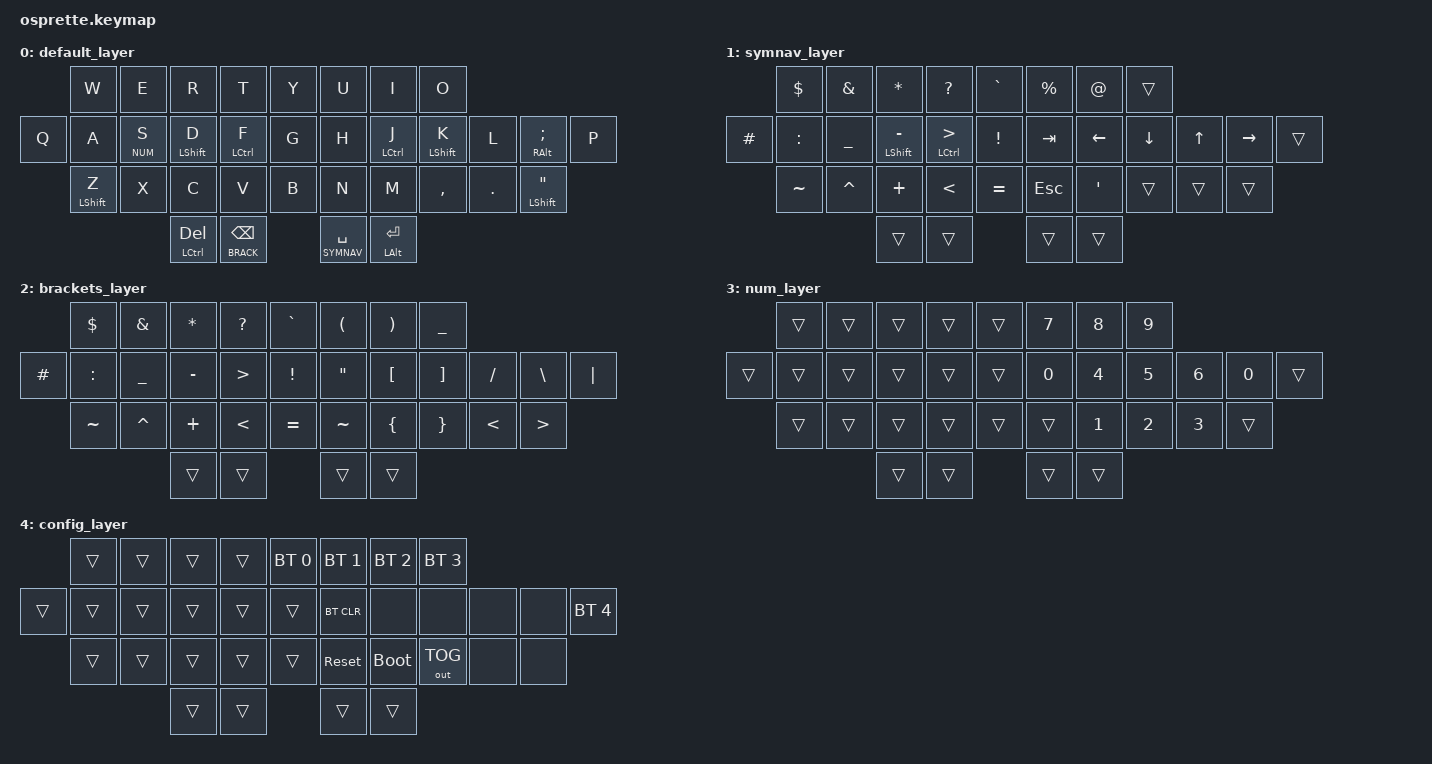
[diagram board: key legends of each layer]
/*
* Copyright (c) 2021 The ZMK Contributors
*
* SPDX-License-Identifier: MIT
*/

#include <behaviors.dtsi>
#include <dt-bindings/zmk/keys.h>
#include <dt-bindings/zmk/bt.h>

#define MAIN 0
#define SYM 1
#define NAV 2
#define BT 3

&mt {
    flavor = "tap-preferred";
    tapping_term_ms = <140>;
};

/ {
    combos {
        compatible = "zmk,combos";

        combo_esc {
            timeout-ms = <100>;
            key-positions = <9 20>;
            bindings = <&kp TAB>;
        };

        // combo_tab {
        //     timeout-ms = <100>;
        //     key-positions = <22 23>;
        //     bindings = <&kp TAB>;
        // };

        // combo_minus {
        //     timeout-ms = <100>;
        //     key-positions = <26 27>;
        //     bindings = <&kp MINUS>;
        // };

        // combo_underscore {
        //     timeout-ms = <100>;
        //     key-positions = <26 28>;
        //     bindings = <&kp UNDERSCORE>;
        // };

        // combo_colon {
        //     timeout-ms = <100>;
        //     key-positions = <7 8>;
        //     bindings = <&kp COLON>;
        // };

        // combo_semicolon {
        //     timeout-ms = <100>;
        //     key-positions = <6 8>;
        //     bindings = <&kp SEMICOLON>;
        // };

        // combo_backslash {
        //     timeout-ms = <100>;
        //     key-positions = <27 28>;
        //     bindings = <&kp BSLH>;
        // };

        // combo_grave {
        //     timeout-ms = <100>;
        //     key-positions = <8 9>;
        //     bindings = <&kp GRAVE>;
        // };
    };
    behaviors {
        hm: homerow_mods {
            compatible = "zmk,behavior-hold-tap";
            label = "HOMEROW_MODS";
            #binding-cells = <2>;
            tapping-term-ms = <150>;
            quick-tap-ms = <0>;
            flavor = "tap-preferred";
            bindings = <&kp>, <&kp>;
        };
    };
    conditional_layers {
        compatible = "zmk,conditional-layers";
        tri_layer {
            if-layers = <BRACK SYMNAV>;
            then-layer = <CONFIG>;
            };
        };

    keymap {
        compatible = "zmk,keymap";

default_layer {
// ------------------------------------
// | Q       | W      | E        | R       | T |      | Y | U       | I | O | P       |
// | CTRL(A) | NUM(S) | BRACK(D) | NAV1(F) | G |      | H | NAV2(J) | K | L | ALT(;)  |
// | SHFT(Z) | X      | C        | V       | B |      | N | M       | , | . | SHFT(") |
//                               |         |   |      |   |         |   |

    bindings = <
                &kp W      &kp E        &kp R          &kp T                 &kp Y  &kp U        &kp I        &kp O    
   &kp Q       &kp A        &lt NUM S  &hm LSHFT D  &hm LCTRL F    &kp G                 &kp H  &hm LCTRL J  &hm LSHFT K  &kp L    &hm RALT SEMI   &kp P
               &mt LSHFT Z  &kp X      &kp C        &kp V          &kp B                 &kp N  &kp M        &kp COMMA    &kp DOT  &mt LSHFT DQT
                                        &mt LCTRL DEL  &lt BRACK BSPC       &lt SYMNAV SPACE  &mt LALT RET
                        >;
    };

symnav_layer {
// ------------------------------------
// | # | $ | & | * | ? |      | `   |  %  | @  |    |     |
// | : | _ | - | > | ! |      | TAB | LFT | DN | UP | RGT |
// | ~ | ^ | + | < | = |      | ESC | '   | ,  | .  |     |
//             |   |   |      |     |     |
bindings = <
                         &kp DLLR   &kp AMPS         &kp STAR      &kp QMARK     &kp GRAVE  &kp PRCNT  &kp AT    &trans 
    &kp HASH  &kp COLON  &kp UNDER  &hm LSHFT MINUS  &hm LCTRL GT  &kp EXCL      &kp TAB    &kp LEFT   &kp DOWN  &kp UP  &kp RIGHT   &trans
               &kp TILDE  &kp CARET  &kp PLUS         &kp LT        &kp EQUAL     &kp ESC    &kp APOS   &trans    &trans  &trans 
                                            &trans     &trans        &trans     &trans
>;
};

brackets_layer {
// ------------------------------------
//  | # | $ | & | * | ? |      | ` | ( | ) | " | | |
//  | : | _ | - | > | ! |      | " | [ | ] | / | \ |
//  | ~ | ^ | + | < | = |      | ~ | { | } | < | > |
//              |   |   |      |   |   |
bindings = <
                         &kp DLLR   &kp AMPS   &kp STAR  &kp QMARK     &kp GRAVE  &kp LPAR  &kp RPAR  &kp UNDER  
   &kp HASH  &kp COLON  &kp UNDER  &kp MINUS  &kp GT     &kp EXCL      &kp DQT    &kp LBKT  &kp RBKT  &kp FSLH   &kp BSLH  &kp PIPE
              &kp TILDE  &kp CARET  &kp PLUS   &kp LT     &kp EQUAL     &kp TILDE  &kp LBRC  &kp RBRC  &kp LT     &kp GT 
                                    &trans     &trans        &trans     &trans
>;
};

num_layer {
// ------------------------------------
// | | | | | |      |   | 7 | 8 | 9 |   |
// | | | | | |      | 0 | 4 | 5 | 6 | 0 |
// | | | | | |      |   | 1 | 2 | 3 |   |
//       | | |      |   |   |
bindings = <
                &trans &trans &trans &trans     &trans  &kp N7  &kp N8  &kp N9  
 &trans  &trans &trans &trans &trans &trans     &kp N0  &kp N4  &kp N5  &kp N6  &kp N0   &trans
         &trans &trans &trans &trans &trans     &trans  &kp N1  &kp N2  &kp N3  &trans 
                        &trans &trans     &trans   &trans
>;
};


config_layer {
// ----------------------------------------------------
// | | | | | |     | BT1    | BT2   | BT3 | BT4 | BT5 |
// | | | | | |     | BT CLR |       |     |     |     |
// | | | | | |     | Reset  | btldr |     |     |     |
//       | | |     |        |       |
bindings = <
              &trans &trans &trans &trans       &bt BT_SEL 0 &bt BT_SEL 1 &bt BT_SEL 2 &bt BT_SEL 3 
&trans &trans &trans &trans &trans &trans       &bt BT_CLR   &none        &none        &none        &none   &bt BT_SEL 4
       &trans &trans &trans &trans &trans       &sys_reset   &bootloader  &out OUT_TOG &none        &none
                     &trans &trans       &trans       &trans
                        >;
        };
    };

    // keymap {
    //     compatible = "zmk,keymap";

    //     MAIN_layer {
    //         bindings = <
    //                         &kp W      &kp E       &kp R        &kp T            &kp Y     &kp U      &kp I           &kp O
    //       &kp Q &kp A       &kp S      &kp D       &lt SYM F    &kp G            &kp H     &lt SYM J  &kp K           &kp L        &kp SQT        &kp P
    //             &mt LSHFT Z &mt LALT X &mt LCTRL C &mt LGUI V   &kp B            &kp N     &mt RGUI M &mt RCTRL COMMA &mt RALT DOT &mt RSHFT FSLH
    //                                                &lt BT ENTER &lt NAV SPACE    &sk RSHFT &kp BSPC
    //         >;
    //     };

    //     SYM_layer {
    //         bindings = <
    //                       &kp N7 &kp N8 &kp N9  &kp STAR     &kp DLLR  &kp LBRC &kp RBRC &kp HASH
    //    &kp AMPS &kp EXCL  &kp N1 &kp N2 &kp N3  &kp EQUAL    &kp LT    &kp LPAR &kp RPAR &kp GT   &kp PIPE  &none
    //             &kp CARET &kp N4 &kp N5 &kp N6  &kp PLUS     &kp TILDE &kp LBKT &kp RBKT &kp AT   &kp PRCNT
    //                                     &kp DOT &kp N0       &trans    &none
    //         >;
    //     };

    //     NAV_layer {
    //         bindings = <
    //                        &kp C_VOL_DN &kp C_VOL_UP &kp C_NEXT &kp C_PP           &none     &kp F7  &kp F8 &kp F9
    //  &kp C_PREV &kp LEFT   &kp DOWN     &kp UP       &kp RIGHT  &kp LC(TAB)        &kp PSCRN &kp F1  &kp F2 &kp F3 &kp F10 &kp F12
    //             &kp HOME   &kp PG_DN    &kp PG_UP    &kp END    &kp LS(LC(TAB))    &kp CAPS  &kp F4  &kp F5 &kp F6 &kp F11
    //                                                  &none      &none              &trans    &kp DEL
    //         >;
    //     };

    //     BT_layer {
    //         bindings = <
    //                   &none &none &none &none    &none &none        &none        &none
    //       &none &none &none &none &none &none    &none &bt BT_SEL 0 &bt BT_SEL 1 &bt BT_SEL 2 &bt BT_SEL 3 &none
    //             &none &none &none &none &none    &none &bt BT_CLR   &none        &none        &none
    //                               &none &none    &none &none
    //         >;
    //     };
    // };

    
};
